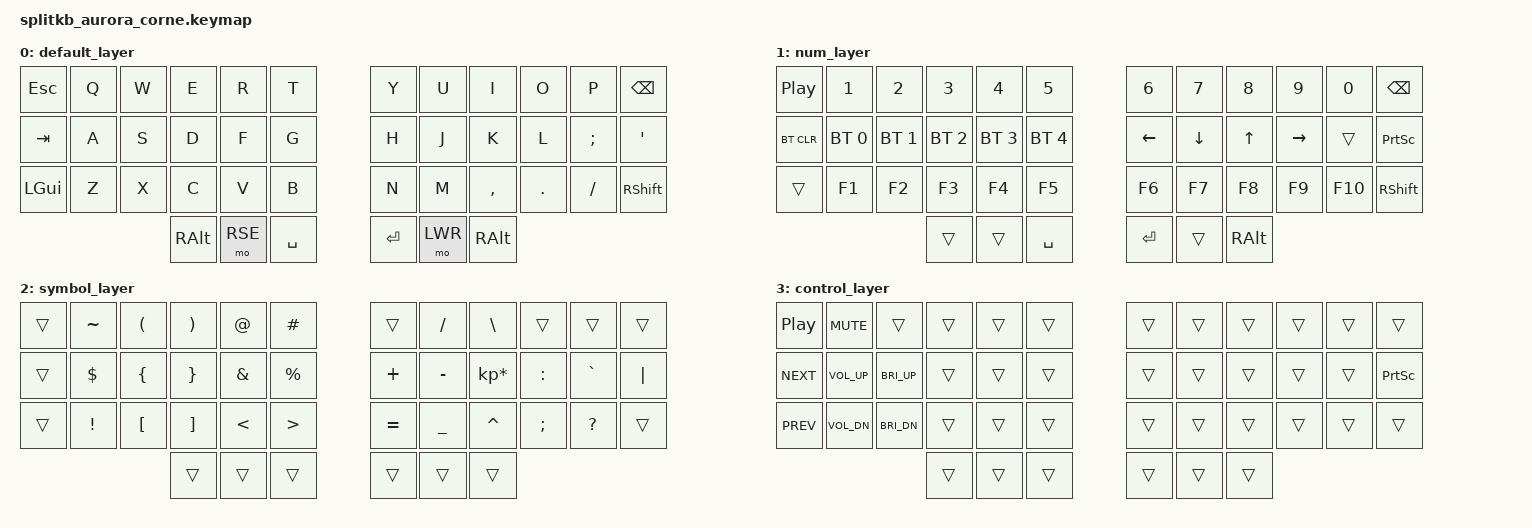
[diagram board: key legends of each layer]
/*
 * Copyright (c) 2020 The ZMK Contributors
 *
 * SPDX-License-Identifier: MIT
 */

#include <behaviors.dtsi>
#include <dt-bindings/zmk/bt.h>
#include <dt-bindings/zmk/keys.h>

#define DEF 0
#define LWR 1
#define RSE 2
#define CTL 3

/ {
    conditional_layers {
        compatible = "zmk,conditional-layers";
        tri_layer {
            if-layers = <LWR RSE>;
            then-layer = <CTL>;
        };
    };

    keymap {
        compatible = "zmk,keymap";

        default_layer {
            // -----------------------------------------------------------------------------------------
            // | ESC  |  Q  |  W  |  E  |  R  |  T  |   |  Y  |  U   |  I  |  O  |  P  | BKSP |
            // | TAB  |  A  |  S  |  D  |  F  |  G  |   |  H  |  J   |  K  |  L  |  ;  |  '   |
            // | GUI  |  Z  |  X  |  C  |  V  |  B  |   |  N  |  M   |  ,  |  .  |  /  | SHFT |
            //                    | ALT | RSE | SPC |   | ENT | LWR  | ALT |

            bindings = <
&kp ESC   &kp Q  &kp W  &kp E     &kp R    &kp T        &kp Y    &kp U    &kp I      &kp O    &kp P     &kp BSPC
&kp TAB   &kp A  &kp S  &kp D     &kp F    &kp G        &kp H    &kp J    &kp K      &kp L    &kp SEMI  &kp SQT
&kp LGUI  &kp Z  &kp X  &kp C     &kp V    &kp B        &kp N    &kp M    &kp COMMA  &kp DOT  &kp FSLH  &kp RSHIFT
                         &kp RALT  &mo RSE  &kp SPACE    &kp RET  &mo LWR  &kp RALT
            >;
        };

        num_layer {
            // -----------------------------------------------------------------------------------------
            // | PLAY |  1  |  2  |  3  |  4  |  5  |   |  6  |  7  |  8  |  9  |  0  | BKSP |
            // | BTCLR| BT1 | BT2 | BT3 | BT4 | BT5 |   | LFT | DWN |  UP | RGT |     | PTSC |
            // |      | F1  | F2  | F3  | F4  | F5  |   | F6  | F7  | F8  | F9  | F10 | SHFT |
            //                    | GUI |     |     |   |     |     |     |

            bindings = <
&kp C_PP    &kp N1        &kp N2        &kp N3        &kp N4        &kp N5          &kp N6    &kp N7    &kp N8    &kp N9     &kp N0   &kp BSPC
&bt BT_CLR  &bt BT_SEL 0  &bt BT_SEL 1  &bt BT_SEL 2  &bt BT_SEL 3  &bt BT_SEL 4    &kp LEFT  &kp DOWN  &kp UP    &kp RIGHT  &trans   &kp PSCRN
&trans      &kp F1        &kp F2        &kp F3        &kp F4        &kp F5          &kp F6    &kp F7    &kp F8    &kp F9     &kp F10  &kp RSHIFT
                                        &trans        &trans        &kp SPACE       &kp RET   &trans    &kp RALT
            >;
        };

        symbol_layer {
            // -----------------------------------------------------------------------------------------
            // |     |  ~  |  (  |  )  |  @  |  #  |   |     |  \  |  \  |     |     |      |
            // |     |  $  |  {  |  }  |  &  |  %  |   |  +  |  -  |  *  |  :  |  \` | "|"  |
            // |     |  !  |  [  |  ]  |  <  |  >  |   |  =  |  _  |  ^  |  ;  |  ?  |      |
            //                   |     |     |     |   |     | CTLS|     |

            bindings = <
&trans  &kp TILDE  &kp LPAR  &kp RPAR  &kp AT    &kp HASH     &trans     &kp FSLH   &kp BSLH         &trans     &trans     &trans
&trans  &kp DLLR   &kp LBRC  &kp RBRC  &kp AMPS  &kp PRCNT    &kp PLUS   &kp MINUS  &kp KP_MULTIPLY  &kp COLON  &kp GRAVE  &kp PIPE
&trans  &kp EXCL   &kp LBKT  &kp RBKT  &kp LT    &kp GT       &kp EQUAL  &kp UNDER  &kp CARET        &kp SEMI   &kp QMARK  &trans
                             &trans    &trans    &trans       &trans     &trans     &trans
            >;
        };

        control_layer {
            // -----------------------------------------------------------------------------------------
            // | PLAY  | MUTE |      |     |     |     |   |     |     |     |     |     |      |
            // | NSONG | VOLU | BRIU |     |     |     |   |     |     |     |     |     | PTSC |
            // | PSONG | VOLD | BRID |     |     |     |   |     |     |     |     |     |      |
            //                |      |     |     |     |   |     |     |

            bindings = <
&kp C_PP    &kp C_MUTE    &trans        &trans  &trans  &trans    &trans  &trans  &trans  &trans  &trans  &trans
&kp C_NEXT  &kp C_VOL_UP  &kp C_BRI_UP  &trans  &trans  &trans    &trans  &trans  &trans  &trans  &trans  &kp PSCRN
&kp C_PREV  &kp C_VOL_DN  &kp C_BRI_DN  &trans  &trans  &trans    &trans  &trans  &trans  &trans  &trans  &trans
                                        &trans  &trans  &trans    &trans  &trans  &trans
            >;
        };
    };
};

// Layer you can copy in. Just remove the leadin slash
//								control_layer {
//// -----------------------------------------------------------------------------------------
//// |       |      |      |     |     |     |   |     |     |     |     |     |      |
//// |       |      |      |     |     |     |   |     |     |     |     |     |      |
//// |       |      |      |     |     |     |   |     |     |     |     |     |      |
////                |      |     |     |     |   |     |     |
//                        bindings = <
//   &trans &trans &trans &trans &trans &trans   &trans &trans &trans &trans &trans &trans
//   &trans &trans &trans &trans &trans &trans   &trans &trans &trans &trans &trans &trans
//   &trans &trans &trans &trans &trans &trans   &trans &trans &trans &trans &trans &trans
//                    	  &trans &trans &trans   &trans &trans &trans
//                        >;
//                };
